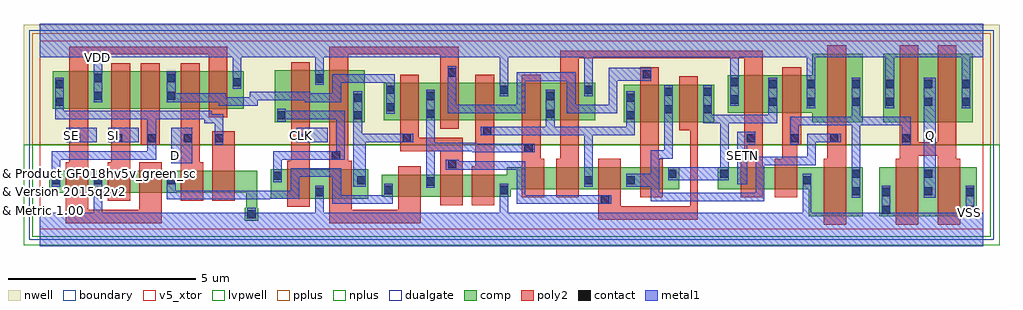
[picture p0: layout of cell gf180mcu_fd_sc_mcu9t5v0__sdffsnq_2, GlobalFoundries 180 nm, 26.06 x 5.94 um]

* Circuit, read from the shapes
.subckt gf180mcu_fd_sc_mcu9t5v0__sdffsnq_2 CLK D Q SE SETN SI VDD VSS
XM1 VSS SE n1 VSUBS nfet_05v0 w=0.59u l=0.6u
XM2 n2 SI VSS VSUBS nfet_05v0 w=0.59u l=0.6u
XM3 n3 SE n2 VSUBS nfet_05v0 w=0.59u l=0.6u
XM4 n4 D n3 VSUBS nfet_05v0 w=0.59u l=0.6u
XM5 VSS n1 n4 VSUBS nfet_05v0 w=0.59u l=0.6u
XM6 VSS CLK n5 VSUBS nfet_05v0 w=0.79u l=0.6u
XM7 n6 n5 VSS VSUBS nfet_05v0 w=0.79u l=0.6u
XM8 n7 n5 n3 VSUBS nfet_05v0 w=0.59u l=0.6u
XM9 n8 n6 n7 VSUBS nfet_05v0 w=0.59u l=0.6u
XM10 VSS n9 n8 VSUBS nfet_05v0 w=0.59u l=0.6u
XM11 n10 n7 VSS VSUBS nfet_05v0 w=0.59u l=0.6u
XM12 n9 SETN n10 VSUBS nfet_05v0 w=0.59u l=0.6u
XM13 n11 n6 n9 VSUBS nfet_05v0 w=0.59u l=0.6u
XM14 n12 n5 n11 VSUBS nfet_05v0 w=0.59u l=0.6u
XM15 n13 SETN n12 VSUBS nfet_05v0 w=0.59u l=0.6u
XM16 VSS n14 n13 VSUBS nfet_05v0 w=0.59u l=0.6u
XM17 n14 n11 VSS VSUBS nfet_05v0 w=1.32u l=0.6u
XM18 Q n14 VSS VSUBS nfet_05v0 w=1.32u l=0.6u m=2
XM19 VDD SE n1 n15 pfet_05v0 w=1u l=0.5u
XM20 n16 SI VDD n15 pfet_05v0 w=1u l=0.5u
XM21 n17 n1 n16 n15 pfet_05v0 w=1u l=0.5u
XM22 n18 D n17 n15 pfet_05v0 w=1u l=0.5u
XM23 VDD SE n18 n15 pfet_05v0 w=1u l=0.5u
XM24 VDD CLK n5 n15 pfet_05v0 w=1.38u l=0.5u
XM25 n6 n5 VDD n15 pfet_05v0 w=1.38u l=0.5u
XM26 n7 n6 n17 n15 pfet_05v0 w=1u l=0.5u
XM27 n19 n5 n7 n15 pfet_05v0 w=1u l=0.5u
XM28 VDD n9 n19 n15 pfet_05v0 w=1u l=0.5u
XM29 n9 n7 VDD n15 pfet_05v0 w=1u l=0.5u
XM30 VDD SETN n9 n15 pfet_05v0 w=1u l=0.5u
XM31 n11 n5 n9 n15 pfet_05v0 w=1u l=0.5u
XM32 n12 n6 n11 n15 pfet_05v0 w=1u l=0.5u
XM33 n12 SETN VDD n15 pfet_05v0 w=1u l=0.5u
XM34 VDD n14 n12 n15 pfet_05v0 w=1u l=0.5u
XM35 n14 n11 VDD n15 pfet_05v0 w=1.83u l=0.5u
XM36 Q n14 VDD n15 pfet_05v0 w=1.83u l=0.5u m=2
.ends

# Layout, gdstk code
import gdstk
lib = gdstk.Library(unit=1e-6, precision=1e-09)
def R(c, l, rs):  # rectangles x0, y0, x1, y1
    for r in rs: c.add(gdstk.rectangle(r[:2], r[2:], *l))
def A(c, l, x, y, w, h, nx, ny, dx, dy):  # array of equal rectangles
    R(c, l, [(x+i*dx, y+j*dy, x+i*dx+w, y+j*dy+h) for i in range(nx) for j in range(ny)])
def P(c, l, *ps):  # polygons
    for p in ps: c.add(gdstk.Polygon(p, *l))
boundary = (0, 0)
nwell = (21, 0)
comp = (22, 0)
poly2 = (30, 0)
pplus = (31, 0)
nplus = (32, 0)
contact = (33, 0)
metal1 = (34, 0)
dualgate = (55, 0)
v5_xtor = (112, 1)
lvpwell = (204, 0)

gf180mcu_fd_sc_mcu9t5v0_ = lib.new_cell('gf180mcu_fd_sc_mcu9t5v0__sdffsnq_2')
R(gf180mcu_fd_sc_mcu9t5v0_, boundary, [(0,0,25.2,5.04)])
R(gf180mcu_fd_sc_mcu9t5v0_, nwell, [(-0.43,2.265,25.63,5.47)])
R(gf180mcu_fd_sc_mcu9t5v0_, comp, [(22.42,0.345,25.02,1.665), (6.175,0.82,8.775,1.61), (6.275,2.865,8.675,4.245), (15.595,2.865,18.015,3.865), (22.52,2.865,24.92,4.695), (9.185,2.91,14.835,3.91), (0.355,3.22,5.455,4.22)])
P(gf180mcu_fd_sc_mcu9t5v0_, comp, [(5.48,0.225),(5.48,0.58),(5.515,0.58),(5.515,0.98),(0.255,0.98),(0.255,1.57),(5.815,1.57),(5.815,0.57),(5.84,0.57),(5.84,0.225)],
  [(9.135,0.87),(9.135,1.46),(12.475,1.46),(12.475,1.665),(17.075,1.665),(17.075,1.075),(12.575,1.075),(12.575,0.87)],
  [(20.535,0.345),(20.535,1.075),(18.105,1.075),(18.105,1.665),(21.975,1.665),(21.975,0.345)],
  [(20.635,2.865),(20.635,3.115),(18.375,3.115),(18.375,4.115),(20.635,4.115),(20.635,4.695),(21.975,4.695),(21.975,2.865)])
R(gf180mcu_fd_sc_mcu9t5v0_, poly2, [(4.615,0.76,5.215,2.615), (2.705,2.255,3.205,4.44)])
P(gf180mcu_fd_sc_mcu9t5v0_, poly2, [(1.815,0.76),(1.815,1.79),(1.915,1.79),(1.915,4.44),(2.415,4.44),(2.415,0.76)],
  [(3.775,0.76),(3.775,4.44),(4.275,4.44),(4.275,1.79),(4.375,1.79),(4.375,0.76)],
  [(0.695,0.16),(0.695,1.79),(0.795,1.79),(0.795,4.88),(5.015,4.88),(5.015,3),(4.515,3),(4.515,4.68),(1.295,4.68),(1.295,0.52),(2.655,0.52),(2.655,1.79),(3.255,1.79),(3.255,0.16)],
  [(6.615,0.6),(6.615,1.83),(6.715,1.83),(6.715,4.465),(7.215,4.465),(7.215,0.6)],
  [(7.735,0.16),(7.735,4.88),(11.195,4.88),(11.195,2.69),(10.695,2.69),(10.695,4.68),(8.235,4.68),(8.235,1.83),(8.335,1.83),(8.335,0.52),(9.575,0.52),(9.575,1.68),(10.175,1.68),(10.175,0.16)],
  [(10.695,0.65),(10.695,2.09),(9.625,2.09),(9.625,4.13),(10.125,4.13),(10.125,2.45),(11.295,2.45),(11.295,0.65)],
  [(11.535,0.65),(11.535,1.68),(11.635,1.68),(11.635,4.13),(12.135,4.13),(12.135,0.65)],
  [(12.875,0.855),(12.875,4.13),(13.375,4.13),(13.375,1.885),(13.475,1.885),(13.475,0.855)],
  [(16.035,0.855),(16.035,4.325),(16.535,4.325),(16.535,1.885),(16.635,1.885),(16.635,0.855)],
  [(14.915,0.255),(14.915,1.885),(15.515,1.885),(15.515,0.615),(17.375,0.615),(17.375,2.645),(17.075,2.645),(17.075,4.085),(17.575,4.085),(17.575,0.255)],
  [(13.795,0.855),(13.795,1.885),(13.895,1.885),(13.895,4.765),(19.315,4.765),(19.315,0.855),(18.715,0.855),(18.715,1.885),(18.815,1.885),(18.815,4.565),(14.395,4.565),(14.395,0.855)],
  [(19.635,0.855),(19.635,1.885),(19.835,1.885),(19.835,4.335),(20.335,4.335),(20.335,2.255),(20.235,2.255),(20.235,0.855)],
  [(20.935,0.125),(20.935,1.885),(21.035,1.885),(21.035,4.915),(21.535,4.915),(21.535,0.125)],
  [(22.86,0.125),(22.86,1.885),(22.96,1.885),(22.96,4.915),(23.46,4.915),(23.46,2.325),(23.98,2.325),(23.98,4.915),(24.48,4.915),(24.48,1.885),(24.58,1.885),(24.58,0.125),(23.98,0.125),(23.98,1.965),(23.46,1.965),(23.46,0.125)])
R(gf180mcu_fd_sc_mcu9t5v0_, pplus, [(-0.2,2.265,25.4,5.24)])
R(gf180mcu_fd_sc_mcu9t5v0_, nplus, [(-0.2,-0.2,25.4,2.265)])
A(gf180mcu_fd_sc_mcu9t5v0_, contact, 22.59, 3.3, 0.22, 0.22, 3, 2, 1.02, 0.47)
R(gf180mcu_fd_sc_mcu9t5v0_, contact, [(5.55,0.295,5.77,0.515), (22.49,0.415,22.71,0.635), (24.73,0.415,24.95,0.635), (14.985,0.685,15.205,0.905), (22.49,0.885,22.71,1.105), (24.73,0.885,24.95,1.105), (7.365,0.89,7.585,1.11), (21.685,0.905,21.905,1.125), (23.61,0.905,23.83,1.125), (9.205,0.94,9.425,1.16), (12.285,0.94,12.505,1.16), (10.325,1.17,10.545,1.39), (0.325,1.2,0.545,1.42), (1.445,1.2,1.665,1.42), (3.405,1.2,3.625,1.42), (8.485,1.2,8.705,1.42), (14.545,1.2,14.765,1.42), (15.665,1.2,15.885,1.42), (20.385,1.2,20.605,1.42), (6.245,1.32,6.465,1.54), (16.785,1.375,17.005,1.595), (18.175,1.375,18.395,1.595), (21.685,1.375,21.905,1.595), (23.61,1.375,23.83,1.595), (10.905,1.63,11.125,1.85), (7.805,1.865,8.025,2.085), (12.945,2.06,13.165,2.28), (0.865,2.325,1.085,2.545), (1.985,2.325,2.205,2.545), (2.885,2.325,3.105,2.545), (3.845,2.325,4.065,2.545), (4.685,2.325,4.905,2.545), (6.925,2.325,7.145,2.545), (9.695,2.325,9.915,2.545), (18.885,2.325,19.105,2.545), (20.045,2.325,20.265,2.545), (21.105,2.325,21.325,2.545), (23.03,2.325,23.25,2.545), (11.845,2.52,12.065,2.74), (6.345,2.935,6.565,3.155), (8.385,2.935,8.605,3.155), (15.665,2.935,15.885,3.155), (10.325,2.98,10.545,3.2), (13.525,2.98,13.745,3.2), (16.685,3.095,16.905,3.315), (17.725,3.095,17.945,3.315), (9.255,3.15,9.475,3.37), (0.425,3.3,0.645,3.52), (19.465,3.3,19.685,3.52), (20.485,3.3,20.705,3.52), (21.685,3.3,21.905,3.52), (18.445,3.355,18.665,3.575), (8.385,3.405,8.605,3.625), (15.665,3.405,15.885,3.625), (10.325,3.45,10.545,3.67), (13.525,3.45,13.745,3.67), (1.445,3.46,1.665,3.68), (3.405,3.46,3.625,3.68), (16.685,3.565,16.905,3.785), (17.725,3.565,17.945,3.785), (9.255,3.62,9.475,3.84), (12.285,3.62,12.505,3.84), (14.545,3.62,14.765,3.84), (0.425,3.77,0.645,3.99), (19.465,3.77,19.685,3.99), (20.485,3.77,20.705,3.99), (21.685,3.77,21.905,3.99), (5.165,3.82,5.385,4.04), (18.445,3.825,18.665,4.045), (7.365,3.92,7.585,4.14), (1.445,3.93,1.665,4.15), (3.405,3.93,3.625,4.15), (16.105,4.035,16.325,4.255), (10.905,4.08,11.125,4.3)])
R(gf180mcu_fd_sc_mcu9t5v0_, metal1, [(23.605,0.845,23.93,4.05), (3.51,1.77,4.07,2.71), (0.71,2.32,1.53,2.71), (1.83,2.32,2.65,2.71), (6.865,2.32,7.69,2.71)])
P(gf180mcu_fd_sc_mcu9t5v0_, metal1, [(0.32,1.14),(0.32,2.09),(2.88,2.09),(2.88,2.94),(0.42,2.94),(0.42,4.05),(0.65,4.05),(0.65,3.17),(4.59,3.17),(4.59,3.07),(4.91,3.07),(4.91,2.265),(4.68,2.265),(4.68,2.84),(4.4,2.84),(4.4,2.94),(3.11,2.94),(3.11,1.86),(0.55,1.86),(0.55,1.14)],
  [(6.24,1.26),(6.24,2.09),(7.92,2.09),(7.92,2.94),(6.57,2.94),(6.57,2.875),(6.34,2.875),(6.34,3.215),(6.57,3.215),(6.57,3.17),(8.15,3.17),(8.15,1.86),(6.47,1.86),(6.47,1.26)],
  [(7.82,0.68),(7.82,1.4),(6.93,1.4),(6.93,0.8),(6.14,0.8),(6.14,0.805),(3.4,0.805),(3.4,1.48),(3.63,1.48),(3.63,1.035),(6.19,1.035),(6.19,1.03),(6.7,1.03),(6.7,1.63),(8.05,1.63),(8.05,0.91),(9.2,0.91),(9.2,1.22),(9.43,1.22),(9.43,0.68)],
  [(9.25,3.09),(9.25,3.915),(8.05,3.915),(8.05,3.4),(7.08,3.4),(7.08,3.445),(5.82,3.445),(5.82,3.3),(4.78,3.3),(4.78,3.4),(3.4,3.4),(3.4,4.21),(3.63,4.21),(3.63,3.63),(4.97,3.63),(4.97,3.53),(5.605,3.53),(5.605,3.675),(7.22,3.675),(7.22,3.63),(7.82,3.63),(7.82,4.145),(9.48,4.145),(9.48,3.09)],
  [(8.38,1.14),(8.38,3.685),(8.61,3.685),(8.61,2.55),(9.975,2.55),(9.975,2.32),(8.71,2.32),(8.71,1.14)],
  [(10.32,1.11),(10.32,3.73),(10.55,3.73),(10.55,2.315),(11.67,2.315),(11.67,2.285),(13.225,2.285),(13.225,2.055),(11.555,2.055),(11.555,2.085),(10.55,2.085),(10.55,1.11)],
  [(12.74,0.68),(12.74,1.595),(10.845,1.595),(10.845,1.855),(11.185,1.855),(11.185,1.825),(12.97,1.825),(12.97,0.91),(15.265,0.91),(15.265,0.68)],
  [(14.54,1.14),(14.54,2.515),(11.785,2.515),(11.785,2.745),(13.52,2.745),(13.52,3.73),(13.75,3.73),(13.75,2.745),(15.66,2.745),(15.66,3.685),(15.89,3.685),(15.89,2.515),(14.77,2.515),(14.77,1.14)],
  [(10.9,3.1),(10.9,4.36),(11.13,4.36),(11.13,3.33),(12.74,3.33),(12.74,4.19),(14.31,4.19),(14.31,3.33),(15.2,3.33),(15.2,4.315),(16.33,4.315),(16.33,3.975),(15.43,3.975),(15.43,3.1),(14.08,3.1),(14.08,3.96),(12.97,3.96),(12.97,3.1)],
  [(18.63,1.21),(18.63,2.605),(19.11,2.605),(19.11,2.265),(18.89,2.265),(18.89,1.21)],
  [(16.78,1.315),(16.78,1.655),(18.17,1.655),(18.17,2.835),(17.72,2.835),(17.72,3.845),(17.95,3.845),(17.95,3.065),(19.46,3.065),(19.46,4.05),(19.69,4.05),(19.69,2.835),(18.4,2.835),(18.4,1.315)],
  [(16.32,0.75),(16.32,1.14),(15.66,1.14),(15.66,1.48),(16.32,1.48),(16.32,2.115),(16.68,2.115),(16.68,3.845),(16.91,3.845),(16.91,1.885),(16.55,1.885),(16.55,0.98),(19.12,0.98),(19.12,1.94),(20.5,1.94),(20.5,2.55),(21.385,2.55),(21.385,2.32),(20.73,2.32),(20.73,1.71),(19.35,1.71),(19.35,0.75)],
  [(21.68,0.845),(21.68,2.78),(20.27,2.78),(20.27,2.265),(20.04,2.265),(20.04,3.01),(21.68,3.01),(21.68,4.05),(21.91,4.05),(21.91,3.01),(23.255,3.01),(23.255,2.265),(23.025,2.265),(23.025,2.78),(21.91,2.78),(21.91,0.845)],
  [(0,-0.45),(0,0.45),(1.44,0.45),(1.44,1.48),(1.67,1.48),(1.67,0.45),(5.545,0.45),(5.545,0.575),(5.775,0.575),(5.775,0.45),(7.36,0.45),(7.36,1.17),(7.59,1.17),(7.59,0.45),(12.28,0.45),(12.28,1.22),(12.51,1.22),(12.51,0.45),(20.38,0.45),(20.38,1.48),(20.61,1.48),(20.61,0.45),(22.485,0.45),(22.485,1.165),(22.715,1.165),(22.715,0.45),(24.725,0.45),(24.725,1.165),(24.955,1.165),(24.955,0.45),(25.2,0.45),(25.2,-0.45)],
  [(20.48,3.24),(20.48,4.59),(18.67,4.59),(18.67,3.295),(18.44,3.295),(18.44,4.59),(14.77,4.59),(14.77,3.56),(14.54,3.56),(14.54,4.59),(12.51,4.59),(12.51,3.56),(12.28,3.56),(12.28,4.59),(7.59,4.59),(7.59,3.86),(7.36,3.86),(7.36,4.59),(5.39,4.59),(5.39,3.76),(5.16,3.76),(5.16,4.59),(1.67,4.59),(1.67,3.4),(1.44,3.4),(1.44,4.59),(0,4.59),(0,5.49),(25.2,5.49),(25.2,4.59),(24.855,4.59),(24.855,3.24),(24.625,3.24),(24.625,4.59),(22.815,4.59),(22.815,3.24),(22.585,3.24),(22.585,4.59),(20.71,4.59),(20.71,3.24)])
R(gf180mcu_fd_sc_mcu9t5v0_, dualgate, [(-0.28,-0.28,25.48,5.32)])
R(gf180mcu_fd_sc_mcu9t5v0_, v5_xtor, [(0,0,25.2,5.04)])
R(gf180mcu_fd_sc_mcu9t5v0_, lvpwell, [(-0.43,-0.43,25.63,2.265)])
gf180mcu_fd_sc_mcu9t5v0_.add(gdstk.Label('CLK', (7,2.52), layer=34, texttype=10))
gf180mcu_fd_sc_mcu9t5v0_.add(gdstk.Label('D', (3.64,1.96), layer=34, texttype=10))
gf180mcu_fd_sc_mcu9t5v0_.add(gdstk.Label('Q', (23.8,2.52), layer=34, texttype=10))
gf180mcu_fd_sc_mcu9t5v0_.add(gdstk.Label('SE', (0.84,2.52), layer=34, texttype=10))
gf180mcu_fd_sc_mcu9t5v0_.add(gdstk.Label('SETN', (18.76,1.96), layer=34, texttype=10))
gf180mcu_fd_sc_mcu9t5v0_.add(gdstk.Label('SI', (1.96,2.52), layer=34, texttype=10))
gf180mcu_fd_sc_mcu9t5v0_.add(gdstk.Label('VDD', (1.555,4.59), layer=34, texttype=10))
gf180mcu_fd_sc_mcu9t5v0_.add(gdstk.Label('VSS', (24.84,0.45), layer=34, texttype=10))
gf180mcu_fd_sc_mcu9t5v0_.add(gdstk.Label('& Vendor GLOBALFOUNDRIES', (0,2), layer=63, texttype=63))
gf180mcu_fd_sc_mcu9t5v0_.add(gdstk.Label('& Product GF018hv5v_green_sc9', (0,1.5), layer=63, texttype=63))
gf180mcu_fd_sc_mcu9t5v0_.add(gdstk.Label('& Version 2015q2v2', (0,1), layer=63, texttype=63))
gf180mcu_fd_sc_mcu9t5v0_.add(gdstk.Label('& Metric 1.00', (0,0.5), layer=63, texttype=63))

lib.write_gds('gf180mcu_fd_sc_mcu9t5v0__sdffsnq_2.gds')
